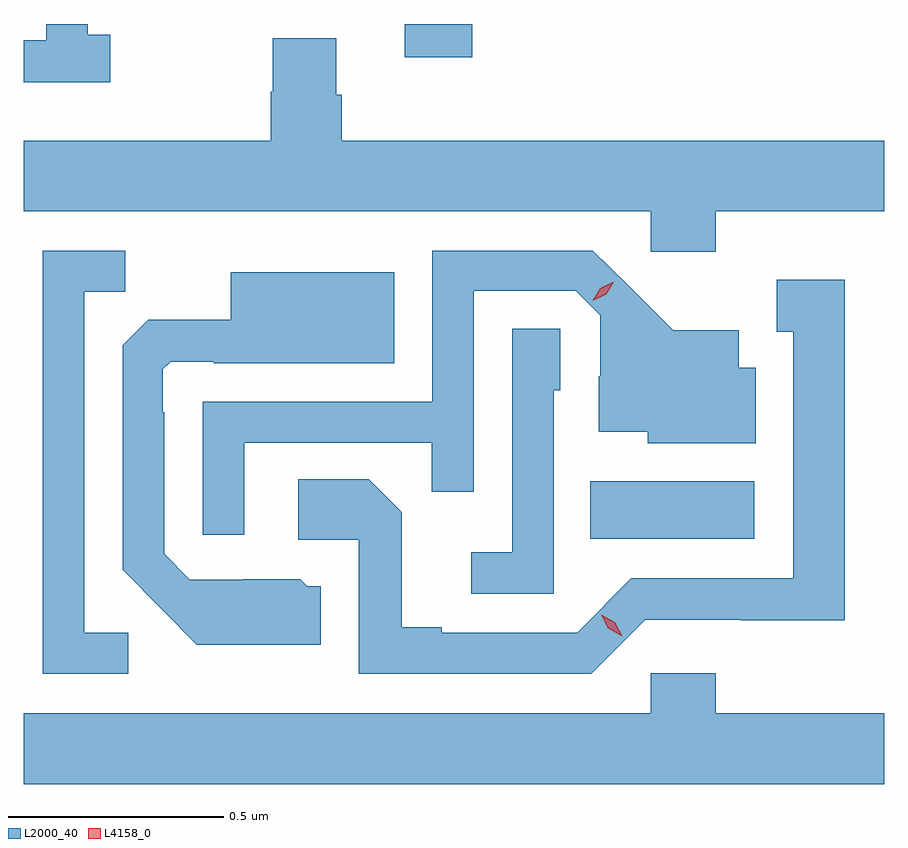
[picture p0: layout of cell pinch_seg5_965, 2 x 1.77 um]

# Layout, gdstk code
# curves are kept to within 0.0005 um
import gdstk
lib = gdstk.Library(unit=1e-6, precision=1e-09)
def R(c, l, rs):  # rectangles x0, y0, x1, y1
    for r in rs: c.add(gdstk.rectangle(r[:2], r[2:], *l))
def P(c, l, *ps):  # polygons
    for p in ps: c.add(gdstk.Polygon(p, *l))
L2000_40 = (2000, 40)
L4158_0 = (4158, 0)

pinch_seg5_965 = lib.new_cell('pinch_seg5_965')
R(pinch_seg5_965, L2000_40, [(689.926,891.962,690.307,892.096), (689.495,893.082,689.651,893.159)])
P(pinch_seg5_965, L2000_40, [(688.81,893.134),(688.758,893.134),(688.758,893.159),(688.661,893.159),(688.661,893.121),(688.609,893.121),(688.609,893.024),(688.81,893.024)],
  [(690.218,892.724),(690.609,892.724),(690.609,892.888),(689.348,892.888),(689.348,892.994),(689.335,892.994),(689.335,893.126),(689.188,893.126),(689.188,893.001),(689.183,893.001),(689.183,892.888),(688.609,892.888),(688.609,892.724),(690.066,892.724),(690.066,892.629),(690.218,892.629)],
  [(688.852,891.744),(688.749,891.744),(688.749,892.537),(688.845,892.537),(688.845,892.632),(688.653,892.632),(688.653,891.648),(688.852,891.648)],
  [(689.121,892.185),(689.557,892.185),(689.557,892.072),(689.655,892.072),(689.655,892.539),(689.892,892.539),(689.949,892.482),(689.949,892.34),(689.945,892.34),(689.945,892.211),(690.06,892.211),(690.06,892.184),(690.31,892.184),(690.31,892.36),(690.271,892.36),(690.271,892.447),(690.119,892.447),(689.932,892.632),(689.559,892.632),(689.559,892.281),(689.025,892.281),(689.025,891.972),(689.121,891.972)],
  [(689.299,891.852),(689.268,891.852),(689.252,891.868),(689.118,891.868),(689.118,891.867),(688.995,891.867),(688.935,891.927),(688.935,892.256),(688.932,892.256),(688.932,892.356),(688.95,892.374),(689.05,892.374),(689.05,892.37),(689.47,892.37),(689.47,892.582),(689.09,892.582),(689.09,892.471),(688.898,892.471),(688.839,892.412),(688.839,891.89),(689.011,891.716),(689.299,891.716)],
  [(690.054,891.774),(690.276,891.774),(690.276,891.773),(690.517,891.773),(690.517,892.564),(690.359,892.564),(690.359,892.443),(690.398,892.443),(690.398,891.87),(690.021,891.87),(689.895,891.744),(689.581,891.744),(689.581,891.757),(689.487,891.757),(689.487,892.024),(689.411,892.1),(689.247,892.1),(689.247,891.96),(689.388,891.96),(689.388,891.648),(689.928,891.648)],
  [(689.841,892.308),(689.856,892.308),(689.856,892.451),(689.745,892.451),(689.745,891.931),(689.649,891.931),(689.649,891.834),(689.841,891.834)],
  [(690.609,891.556),(690.218,891.556),(690.218,891.649),(690.066,891.649),(690.066,891.556),(688.609,891.556),(688.609,891.392),(690.609,891.392)])
P(pinch_seg5_965, L4158_0, [(690,891.735),(689.968,891.754),(689.951,891.786),(689.951,891.786),(689.951,891.786),(689.983,891.768),(690,891.735),(690,891.735)],
  [(689.932,892.516),(689.932,892.516),(689.949,892.545),(689.98,892.56),(689.98,892.56),(689.98,892.56),(689.963,892.531),(689.932,892.516)])

lib.write_gds('pinch_seg5_965.gds')
